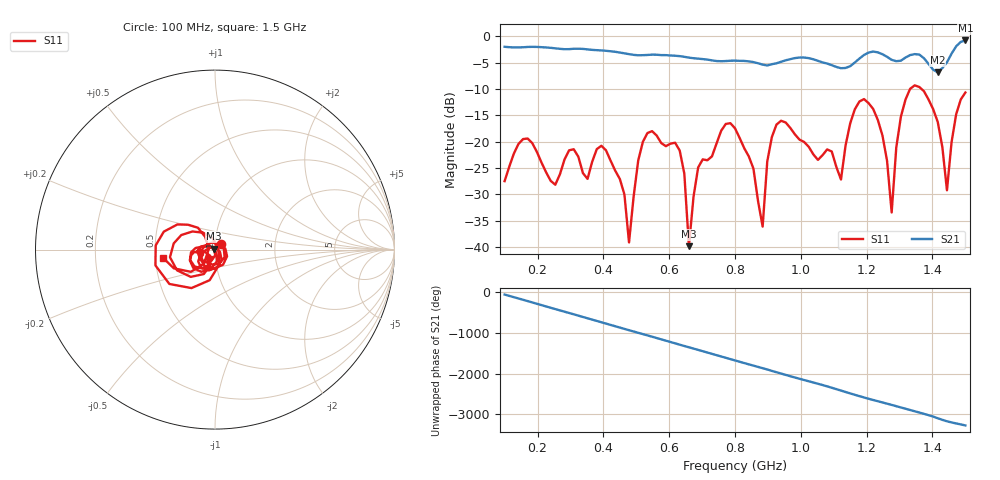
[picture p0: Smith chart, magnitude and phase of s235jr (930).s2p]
! NanoVNA-App
! Date: 2025-09-25 15:11:24
! Start: 100MHz Stop: 1,5GHz Points: 101
! S-Parameter data: F S11 S21 S12 S22
# Hz S RI R 50
!  Frequency  S11_Real  S11_Imag  S21_Real  S21_Imag  S12_Real  S12_Imag  S22_Real  S22_Imag
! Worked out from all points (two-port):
!   101 points, 100 MHz to 1.5 GHz, reference 50 ohm
!   highest |S21| = -0.76 dB at 1.5 GHz (marker M1); lowest = -6.8 dB at 1.416 GHz (marker M2)
!   |S21| within 3 dB of the highest: start of sweep to 634.7 MHz; 1.187 GHz to 1.259 GHz (72.14 MHz wide, 5.9 % of centre) (the widest 2 of 4)
!   lowest |S11| = -39.8 dB at 660 MHz (marker M3), VSWR 1.02, Z = 49.2 + j0.592 ohm
!   |S11| at or under -10 dB: start of sweep to 1.332 GHz; 1.367 GHz to end of sweep
!   S12 and S22 are empty: the file has one direction only
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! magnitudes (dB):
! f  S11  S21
! 100 MHz  -27.5  -2.0
! 170 MHz  -19.4  -2.0
! 338 MHz  -25.9  -2.4
! 408 MHz  -21.6  -2.7
! 478 MHz  -39.1  -3.4
! 520 MHz  -20.0  -3.6
! 576 MHz  -20.2  -3.5
! 632 MHz  -21.7  -3.7
! 660 MHz  -39.8  -4.0
! 688 MHz  -24.9  -4.2
! 800 MHz  -17.4  -4.6
! 884 MHz  -36.1  -5.3
! 926 MHz  -16.7  -5.1
! 1.038 GHz  -22.4  -4.3
! 1.122 GHz  -27.2  -6.0
! 1.192 GHz  -11.9  -3.5
! 1.248 GHz  -18.8  -3.4
! 1.276 GHz  -33.4  -4.4
! 1.332 GHz  -9.9  -3.5
! 1.416 GHz  -16.2  -6.8
! 1.444 GHz  -29.2  -4.9
! 1.5 GHz  -10.6  -0.8
